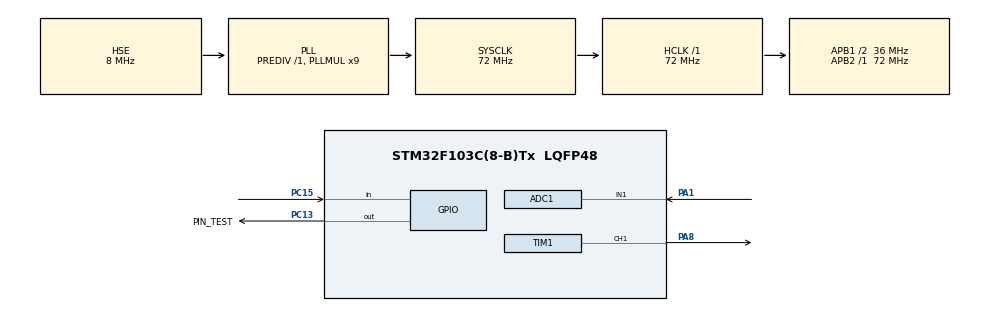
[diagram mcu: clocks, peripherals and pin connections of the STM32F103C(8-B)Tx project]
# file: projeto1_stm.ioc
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ADC1.Channel-5\#ChannelRegularConversion=ADC_CHANNEL_1
ADC1.ContinuousConvMode=DISABLE
ADC1.DataAlign=ADC_DATAALIGN_RIGHT
ADC1.DiscontinuousConvMode=DISABLE
ADC1.EnableAnalogWatchDog=false
ADC1.EnableRegularConversion=ENABLE
ADC1.ExternalTrigConv=ADC_SOFTWARE_START
ADC1.InjNumberOfConversion=0
ADC1.NbrOfConversion=1
ADC1.NbrOfConversionFlag=1
ADC1.Rank-5\#ChannelRegularConversion=1
ADC1.SamplingTime-5\#ChannelRegularConversion=ADC_SAMPLETIME_239CYCLES_5
ADC1.ScanConvMode=ADC_SCAN_DISABLE
ADC1.master=1
Mcu.Family=STM32F1
Mcu.Name=STM32F103C(8-B)Tx
Mcu.Package=LQFP48
NVIC.PriorityGroup=NVIC_PRIORITYGROUP_4
NVIC.TIM2_IRQn=true\:0\:0\:false\:false\:true\:true
NVIC.TIM4_IRQn=true\:0\:0\:false\:false\:true\:false
NVIC.TimeBase=TIM4_IRQn
NVIC.TimeBaseIP=TIM4
PA1.Signal=ADCx_IN1
PA13.Mode=Serial_Wire
PA13.Signal=SYS_JTMS-SWDIO
PA14.Mode=Serial_Wire
PA14.Signal=SYS_JTCK-SWCLK
PA8.Signal=S_TIM1_CH1
PC13-TAMPER-RTC.GPIO_Label=PIN_TEST
PC13-TAMPER-RTC.Signal=GPIO_Output
PC15-OSC32_OUT.GPIO_PuPd=GPIO_PULLUP
PC15-OSC32_OUT.Signal=GPIO_Input
PD0-OSC_IN.Mode=HSE-External-Oscillator
PD0-OSC_IN.Signal=RCC_OSC_IN
PD1-OSC_OUT.Mode=HSE-External-Oscillator
PD1-OSC_OUT.Signal=RCC_OSC_OUT
ProjectManager.HeapSize=0x200
ProjectManager.StackSize=0x400
ProjectManager.TargetToolchain=SW4STM32
RCC.ADCPresc=RCC_ADCPCLK2_DIV6
RCC.AHBFreq_Value=72000000
RCC.APB1CLKDivider=RCC_HCLK_DIV2
RCC.APB1Freq_Value=36000000
RCC.APB1TimFreq_Value=72000000
RCC.APB2Freq_Value=72000000
RCC.APB2TimFreq_Value=72000000
RCC.HCLKFreq_Value=72000000
RCC.PLLMUL=RCC_PLL_MUL9
RCC.PLLSourceVirtual=RCC_PLLSOURCE_HSE
RCC.SYSCLKFreq_VALUE=72000000
RCC.SYSCLKSource=RCC_SYSCLKSOURCE_PLLCLK
RCC.USBFreq_Value=72000000
SH.ADCx_IN1.0=ADC1_IN1,IN1
SH.S_TIM1_CH1.0=TIM1_CH1,PWM Generation1 CH1
TIM1.Channel-PWM\ Generation1\ CH1=TIM_CHANNEL_1
TIM1.Period=999
TIM1.Prescaler=8
TIM1.Pulse-PWM\ Generation1\ CH1=500
TIM2.ClockDivision=TIM_CLOCKDIVISION_DIV1
TIM2.Period=999
TIM2.Prescaler=143
VP_SYS_VS_tim4.Mode=TIM4
VP_TIM1_VS_ClockSourceINT.Mode=Internal
VP_TIM2_VS_ClockSourceINT.Mode=Internal
board=FreeRTOS_LC5110_Joystick

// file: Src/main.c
/**
  ******************************************************************************
  * @file           : main.c
  * @brief          : Main program body
  ******************************************************************************
  ** This notice applies to any and all portions of this file
  * that are not between comment pairs USER CODE BEGIN and
  * USER CODE END. Other portions of this file, whether
  * inserted by the user or by software development tools
  * are owned by their respective copyright owners.
  *
  * COPYRIGHT(c) 2019 STMicroelectronics
  *
  * Redistribution and use in source and binary forms, with or without modification,
  * are permitted provided that the following conditions are met:
  *   1. Redistributions of source code must retain the above copyright notice,
  *      this list of conditions and the following disclaimer.
  *   2. Redistributions in binary form must reproduce the above copyright notice,
  *      this list of conditions and the following disclaimer in the documentation
  *      and/or other materials provided with the distribution.
  *   3. Neither the name of STMicroelectronics nor the names of its contributors
  *      may be used to endorse or promote products derived from this software
  *      without specific prior written permission.
  *
  * THIS SOFTWARE IS PROVIDED BY THE COPYRIGHT HOLDERS AND CONTRIBUTORS "AS IS"
  * AND ANY EXPRESS OR IMPLIED WARRANTIES, INCLUDING, BUT NOT LIMITED TO, THE
  * IMPLIED WARRANTIES OF MERCHANTABILITY AND FITNESS FOR A PARTICULAR PURPOSE ARE
  * DISCLAIMED. IN NO EVENT SHALL THE COPYRIGHT HOLDER OR CONTRIBUTORS BE LIABLE
  * FOR ANY DIRECT, INDIRECT, INCIDENTAL, SPECIAL, EXEMPLARY, OR CONSEQUENTIAL
  * DAMAGES (INCLUDING, BUT NOT LIMITED TO, PROCUREMENT OF SUBSTITUTE GOODS OR
  * SERVICES; LOSS OF USE, DATA, OR PROFITS; OR BUSINESS INTERRUPTION) HOWEVER
  * CAUSED AND ON ANY THEORY OF LIABILITY, WHETHER IN CONTRACT, STRICT LIABILITY,
  * OR TORT (INCLUDING NEGLIGENCE OR OTHERWISE) ARISING IN ANY WAY OUT OF THE USE
  * OF THIS SOFTWARE, EVEN IF ADVISED OF THE POSSIBILITY OF SUCH DAMAGE.
  *
  ******************************************************************************
  */
#include "main.h"
#include "stm32f1xx_hal.h"
#include "adc.h"
#include "tim.h"
#include "gpio.h"
#include "controle.h"

/* USER CODE BEGIN Includes */
#define SUM ARRAY2D_SUM_REVERSE
#define SUB ARRAY2D_SUB_REVERSE
#define MUL ARRAY2D_MUL_REVERSE
#define GAIN ARRAY2D_GAIN_REVERSE
#define GAINSUM ARRAY2D_GAINSUM_REVERSE
#define COPY ARRAY2D_COPY_REVERSE
#define ZERO ARRAY2D_ZERO_REVERSE
#define INT ARRAY2D_GAINSUM_REVERSE
#define MULSUM ARRAY2D_MULSUM_REVERSE
/* USER CODE END Includes */

/* USER CODE BEGIN PV */
/* Private variables ---------------------------------------------------------*/
#define ADC_BUFFER_LEN 1

#define ENTRADA_10 1241
#define ENTRADA_15 1861

typedef enum estado{ALTO, BAIXO}estado_t;

volatile uint32_t ADC_buffer[ADC_BUFFER_LEN];
volatile uint32_t valor_ADC[ADC_BUFFER_LEN];
volatile estado_t flag = BAIXO;
/* USER CODE END PV */

void SystemClock_Config(void);

/* USER CODE BEGIN PFP */
/* Private function prototypes -----------------------------------------------*/

/* USER CODE END PFP */

/* USER CODE BEGIN 0 */
volatile const float Ts = 1/2000.0f;

volatile const float A[2][2] = {{96.9795, 9.0109},
		   	   	   	   	   	   	{-16.1789e3 , -666.666666666667}};

volatile const float B[2][1] = {{11.9331e-3},
		   	   	   	   	   	   	{-787.5538e-3}};

volatile const float C[3][2] = {{0, 0},
		   	   	   	   	   	    {1, 0},
								{0, 1}};

volatile const float D[3][1] = {{1},
		   	   	   	   	   	    {-17.9880e-6},
								{1.6179e-3}};

volatile const float F[2][1] = {{0},
		   	   	   	   	   	    {66.6670e-3}};

volatile const float K[1][3] = {{10.9836, 467.2270e3, 624.9290}};

volatile const float Ki = 1.3924e3;

void controlador(){

	volatile uint32_t ADCValue;
	volatile static uint32_t pwm_u;
	volatile static float y, r = 1.0;
	volatile static float u = 1.0, xi = 0, xi_, ki_xi, k_x[1][1], eta[2][1], eta_[2][1], x[3][1];

	//HAL_GPIO_WritePin(PIN_TEST_GPIO_Port, PIN_TEST_Pin, GPIO_PIN_SET);

	ARRAY2D_INDEX_INIT();
	HAL_ADC_Start(&hadc1);
	ADCValue = HAL_ADC_GetValue(&hadc1);

	y = (float)(ADCValue * 8.056641e-4f);

	if(flag == ALTO)
		r = 1.5;
	else if(flag == BAIXO)
		r = 1.0;

	/* OBSERVADOR */
	// eta_ = F*u
	GAIN(F, u, eta_);
	// eta_ += B*y
	GAINSUM(B, y, eta_);
	// eta_ += A*eta
	MULSUM(A, eta, eta_);

	// eta = INT(eta_)
	INT(eta_, Ts, eta);

	// x = eta*C
	MUL(C, eta, x);
	// x += y*D
	GAINSUM(D, y, x);

	/* CONTROLADOR */
	//xi_ = r - y
	xi_ = r - y;
	// xi = INT(xi_)
	xi = xi + Ts*xi_;
	// ki_xi = Ki*xi
	ki_xi = Ki*xi;

	// k_x = K*x
	MUL(K, x, k_x);

	// u = ki_xi - k_x
	u = ki_xi - k_x[0][0];

	if(u < 0)
		u = 0;
	if(u > 3.3)
		u = 3.3;

/*
	if(flag == ALTO)
		u = 1.5;
	else if(flag == BAIXO)
		u = 1.0;
*/

	pwm_u = (uint32_t)(302.7272f*u);

	__HAL_TIM_SET_COMPARE(&htim1, TIM_CHANNEL_1, pwm_u);

	//HAL_GPIO_WritePin(PIN_TEST_GPIO_Port, PIN_TEST_Pin, GPIO_PIN_RESET);

}

extern void initialise_monitor_handles(void);
/* USER CODE END 0 */

int main(void)
{
  /* USER CODE BEGIN 1 */
	//initialise_monitor_handles();
	//printf("teste\n");
  /* USER CODE END 1 */

  /* MCU Configuration----------------------------------------------------------*/

  /* Reset of all peripherals, Initializes the Flash interface and the Systick. */
  HAL_Init();

  /* Configure the system clock */
  SystemClock_Config();

  /* USER CODE BEGIN SysInit */
  //printf("b \n");
  /* USER CODE END SysInit */

  /* Initialize all configured peripherals */
  MX_GPIO_Init();
  MX_ADC1_Init();
  MX_TIM1_Init();
  MX_TIM2_Init();
  /* USER CODE BEGIN 2 */
  HAL_TIM_PWM_Start(&htim1, TIM_CHANNEL_1);
  HAL_TIM_Base_Start_IT(&htim2);

  //printf("c \n");
  //HAL_ADC_Start_DMA(&hadc1,(uint32_t*)ADC_buffer,ADC_BUFFER_LEN);
  HAL_ADC_Start_IT(&hadc1);

  //printf("a \n");
  /* USER CODE END 2 */

  /* Infinite loop */
  /* USER CODE BEGIN WHILE */
  __HAL_TIM_SET_COMPARE(&htim1, TIM_CHANNEL_1, 333);
  while (1)
  {
	  HAL_Delay(500);
	  HAL_GPIO_WritePin(PIN_TEST_GPIO_Port, PIN_TEST_Pin, GPIO_PIN_SET);
	  flag = ALTO;

	  HAL_Delay(500);
	  HAL_GPIO_WritePin(PIN_TEST_GPIO_Port, PIN_TEST_Pin, GPIO_PIN_RESET);
	  flag = BAIXO;
	//printf("%d\n", ADC_buffer[0]);
	//printf("a \n");

  /* USER CODE END WHILE */

  }

}

void SystemClock_Config(void)
{

  RCC_OscInitTypeDef RCC_OscInitStruct;
  RCC_ClkInitTypeDef RCC_ClkInitStruct;
  RCC_PeriphCLKInitTypeDef PeriphClkInit;

    /**Initializes the CPU, AHB and APB busses clocks
    */
  RCC_OscInitStruct.OscillatorType = RCC_OSCILLATORTYPE_HSE;
  RCC_OscInitStruct.HSEState = RCC_HSE_ON;
  RCC_OscInitStruct.HSEPredivValue = RCC_HSE_PREDIV_DIV1;
  RCC_OscInitStruct.HSIState = RCC_HSI_ON;
  RCC_OscInitStruct.PLL.PLLState = RCC_PLL_ON;
  RCC_OscInitStruct.PLL.PLLSource = RCC_PLLSOURCE_HSE;
  RCC_OscInitStruct.PLL.PLLMUL = RCC_PLL_MUL9;
  if (HAL_RCC_OscConfig(&RCC_OscInitStruct) != HAL_OK)
  {
    _Error_Handler(__FILE__, __LINE__);
  }

    /**Initializes the CPU, AHB and APB busses clocks
    */
  RCC_ClkInitStruct.ClockType = RCC_CLOCKTYPE_HCLK|RCC_CLOCKTYPE_SYSCLK
                              |RCC_CLOCKTYPE_PCLK1|RCC_CLOCKTYPE_PCLK2;
  RCC_ClkInitStruct.SYSCLKSource = RCC_SYSCLKSOURCE_PLLCLK;
  RCC_ClkInitStruct.AHBCLKDivider = RCC_SYSCLK_DIV1;
  RCC_ClkInitStruct.APB1CLKDivider = RCC_HCLK_DIV2;
  RCC_ClkInitStruct.APB2CLKDivider = RCC_HCLK_DIV1;

  if (HAL_RCC_ClockConfig(&RCC_ClkInitStruct, FLASH_LATENCY_2) != HAL_OK)
  {
    _Error_Handler(__FILE__, __LINE__);
  }

  PeriphClkInit.PeriphClockSelection = RCC_PERIPHCLK_ADC;
  PeriphClkInit.AdcClockSelection = RCC_ADCPCLK2_DIV6;
  if (HAL_RCCEx_PeriphCLKConfig(&PeriphClkInit) != HAL_OK)
  {
    _Error_Handler(__FILE__, __LINE__);
  }

    /**Configure the Systick interrupt time
    */
  HAL_SYSTICK_Config(HAL_RCC_GetHCLKFreq()/1000);

    /**Configure the Systick
    */
  HAL_SYSTICK_CLKSourceConfig(SYSTICK_CLKSOURCE_HCLK);

  /* SysTick_IRQn interrupt configuration */
  HAL_NVIC_SetPriority(SysTick_IRQn, 0, 0);
}

/* USER CODE BEGIN 4 */
void HAL_ADC_ConvCpltCallback(ADC_HandleTypeDef *hadc)
{
	if(hadc->Instance == ADC1)
	{
		/*
		static uint32_t i;

		//HAL_GPIO_TogglePin(PIN_TEST_GPIO_Port, PIN_TEST_Pin);
		valor_ADC[i]=ADC_buffer[i];

		i++;
		if(i >= ADC_BUFFER_LEN)
			i=0;
	*/
	}

}

/* USER CODE END 4 */

void HAL_TIM_PeriodElapsedCallback(TIM_HandleTypeDef *htim)
{
  if (htim->Instance == TIM4) {
    HAL_IncTick();
  }
  /* USER CODE BEGIN Callback 1 */
  if (htim->Instance == htim2.Instance)
	{
	  //HAL_GPIO_TogglePin(PIN_TEST_GPIO_Port, PIN_TEST_Pin);
	  controlador();
	}

  /* USER CODE END Callback 1 */
}

void _Error_Handler(char *file, int line)
{
  while(1)
  {
  }
}

/************************ (C) COPYRIGHT STMicroelectronics *****END OF FILE****/
